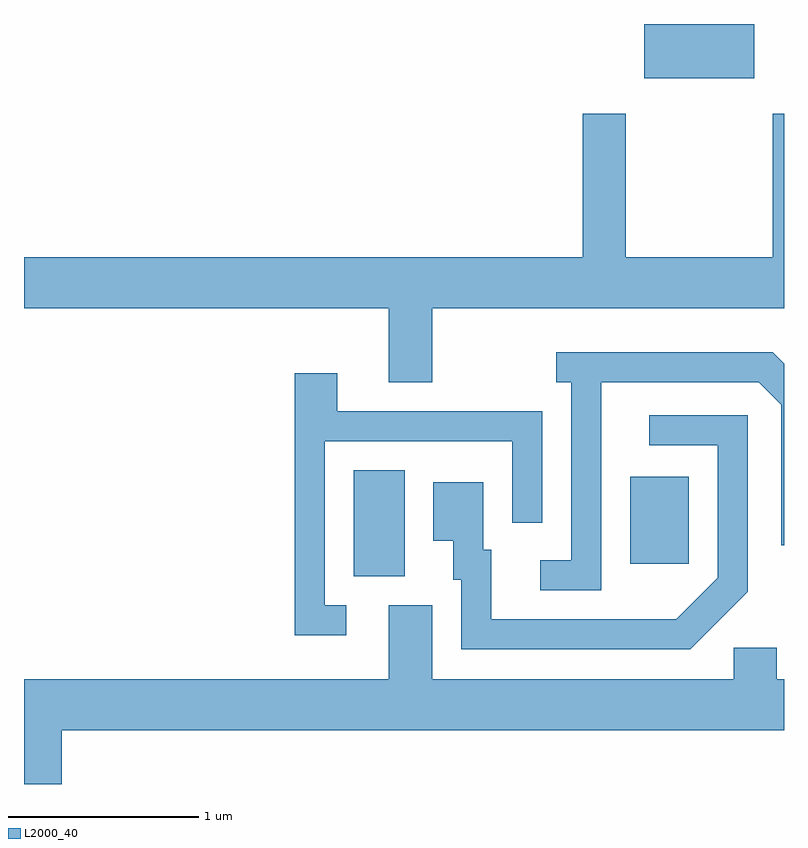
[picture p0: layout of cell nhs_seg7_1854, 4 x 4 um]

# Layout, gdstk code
import gdstk
lib = gdstk.Library(unit=1e-6, precision=1e-09)
def R(c, l, rs):  # rectangles x0, y0, x1, y1
    for r in rs: c.add(gdstk.rectangle(r[:2], r[2:], *l))
def P(c, l, *ps):  # polygons
    for p in ps: c.add(gdstk.Polygon(p, *l))
L2000_40 = (2000, 40)

nhs_seg7_1854 = lib.new_cell('nhs_seg7_1854')
R(nhs_seg7_1854, L2000_40, [(243.346,1717.346,243.614,1717.904), (244.801,1717.411,245.109,1717.869), (244.876,1719.966,245.454,1720.252)])
P(nhs_seg7_1854, L2000_40, [(243.759,1718.756),(245.611,1718.756),(245.611,1719.779),(245.551,1719.779),(245.551,1719.024),(244.779,1719.024),(244.779,1719.779),(244.551,1719.779),(244.551,1719.024),(241.611,1719.024),(241.611,1718.756),(243.531,1718.756),(243.531,1718.366),(243.759,1718.366)],
  [(244.649,1718.366),(245.479,1718.366),(245.596,1718.249),(245.596,1717.508),(245.611,1717.508),(245.611,1718.465),(245.552,1718.524),(244.413,1718.524),(244.413,1718.366),(244.491,1718.366),(244.491,1717.429),(244.328,1717.429),(244.328,1717.271),(244.649,1717.271)],
  [(243.308,1717.194),(243.194,1717.194),(243.194,1718.056),(244.181,1718.056),(244.181,1717.628),(244.339,1717.628),(244.339,1718.214),(243.259,1718.214),(243.259,1718.414),(243.036,1718.414),(243.036,1717.036),(243.308,1717.036)],
  [(245.419,1717.264),(245.419,1718.194),(244.903,1718.194),(244.903,1718.036),(245.261,1718.036),(245.261,1717.337),(245.044,1717.119),(244.069,1717.119),(244.069,1717.484),(244.029,1717.484),(244.029,1717.839),(243.766,1717.839),(243.766,1717.531),(243.871,1717.531),(243.871,1717.326),(243.911,1717.326),(243.911,1716.961),(245.117,1716.961)],
  [(245.611,1716.804),(245.574,1716.804),(245.574,1716.969),(245.346,1716.969),(245.346,1716.804),(243.759,1716.804),(243.759,1717.194),(243.531,1717.194),(243.531,1716.804),(241.611,1716.804),(241.611,1716.252),(241.809,1716.252),(241.809,1716.536),(245.611,1716.536)])

lib.write_gds('nhs_seg7_1854.gds')
